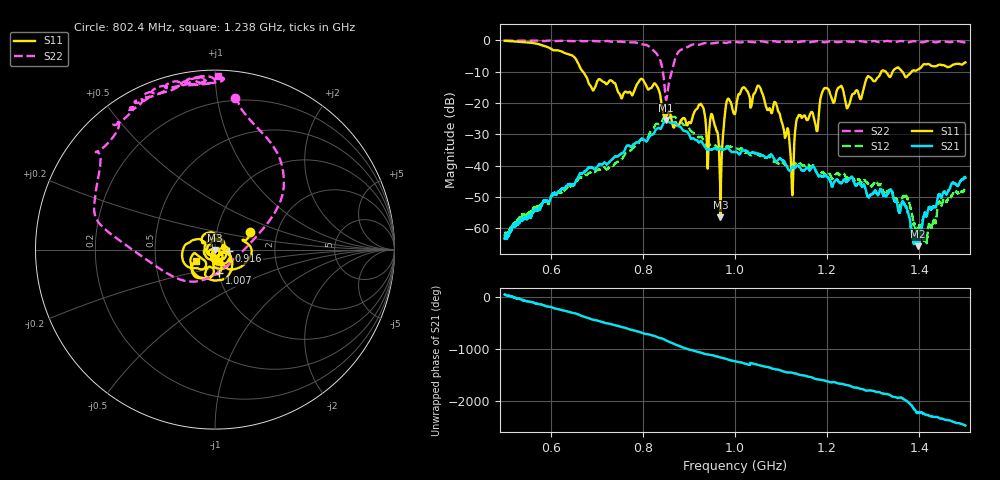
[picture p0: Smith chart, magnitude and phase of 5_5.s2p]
!Agilent Technologies,E8364B,US42250235,A.06.04.32
!Agilent E8364B: A.06.04.32
!Date: Thursday, October 01, 2020 11:17:11
!Correction: S11(Full 2 Port(1,2)) S21(Full 2 Port(1,2)) S12(Full 2 Port(1,2)) S22(Full 2 Port(1,2))
!S2P File: Measurements: S11, S21, S12, S22:
# Hz S  dB  R 50
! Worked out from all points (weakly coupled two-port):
!   2650 points, 500 MHz to 1.5 GHz, reference 50 ohm
!   highest |S21| = -25.46 dB at 850.7 MHz (marker M1); lowest = -65.7 dB at 1.397 GHz (marker M2)
!   lowest |S11| = -56.5 dB at 968.5 MHz (marker M3), VSWR 1.00, Z = 50 - j0.149 ohm
!   |S11| at or under -10 dB: 669.9 MHz to 1.318 GHz (648 MHz wide, 65.2 % of centre); 1.327 GHz to 1.342 GHz (15.65 MHz wide, 1.17 % of centre); 1.363 GHz to 1.383 GHz (20.62 MHz wide, 1.5 % of centre)
!   |S22| runs from -19.1 to -0.1 dB; largest |S21 - S12| = 0.029
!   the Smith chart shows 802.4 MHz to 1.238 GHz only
!   S11 on the Smith chart (normalised r, x): 802.4 MHz: 1.44, +0.30; 916 MHz: 1.17, -0.02; 1.007 GHz: 1.01, -0.27; 1.238 GHz: 0.81, -0.10
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5e8  -0.19 -175.3  -63.38 56.8  -62.23 64.2  -0.21 136.3
5.898452e8  -2.03 126.2  -51.21 -168.2  -51.28 -162.7  -0.23 127.5
6.668554e8  -9.52 61.0  -42.47 4.3  -43.76 19.6  -0.28 121.4
8.023783e8  -13.22 27.1  -31.79 23.9  -31.76 59.5  -1.38 82.6
8.337108e8  -15.58 -38.0  -28.03 -53.1  -26.77 -27.8  -5.18 45.9
8.506984e8  -24.12 -53.4  -25.46 -111.9  -23.63 -86.1  -19.07 -51.4
8.775009e8  -27.46 126.7  -27.38 148.2  -25.09 174.7  -3.70 167.7
9.16006e8  -22.13 -7.0  -31.89 38.3  -30.20 61.9  -1.43 139.5
9.405436e8  -40.99 -83.1  -35.01 -17.7  -34.02 5.3  -0.94 129.1
9.522461e8  -24.84 -86.3  -34.76 -37.5  -33.23 -20.3  -1.00 122.7
9.684787e8  -56.53 -92.6  -34.63 -79.3  -33.98 -57.1  -0.69 121.7
9.824462e8  -19.31 -39.1  -34.38 -110.1  -33.84 -88.7  -0.81 117.3
1.000189e9  -23.46 -76.7  -35.69 -151.0  -34.71 -133.4  -0.55 118.3
1.006984e9  -17.49 -80.3  -36.10 -166.1  -34.63 -149.3  -0.67 118.1
1.088524e9  -20.04 105.0  -38.62 52.1  -38.90 30.9  -0.41 106.7
1.123632e9  -47.67 142.8  -40.57 -11.6  -39.76 -31.0  -0.53 101.5
1.136467e9  -24.53 -111.9  -40.07 -42.0  -38.80 -64.7  -0.65 95.1
1.166667e9  -22.88 -42.3  -40.55 -101.5  -40.23 -133.0  -0.57 93.8
1.238014e9  -18.36 -149.4  -44.49 116.4  -42.85 76.0  -0.31 89.1
1.333522e9  -11.42 -157.4  -48.71 -72.8  -48.19 -123.8  -0.29 83.1
1.396565e9  -9.42 -174.3  -65.73 -62.2  -60.00 82.7  -0.48 76.4
1.5e9  -7.10 143.2  -43.89 48.9  -47.21 -0.3  -0.66 60.2
